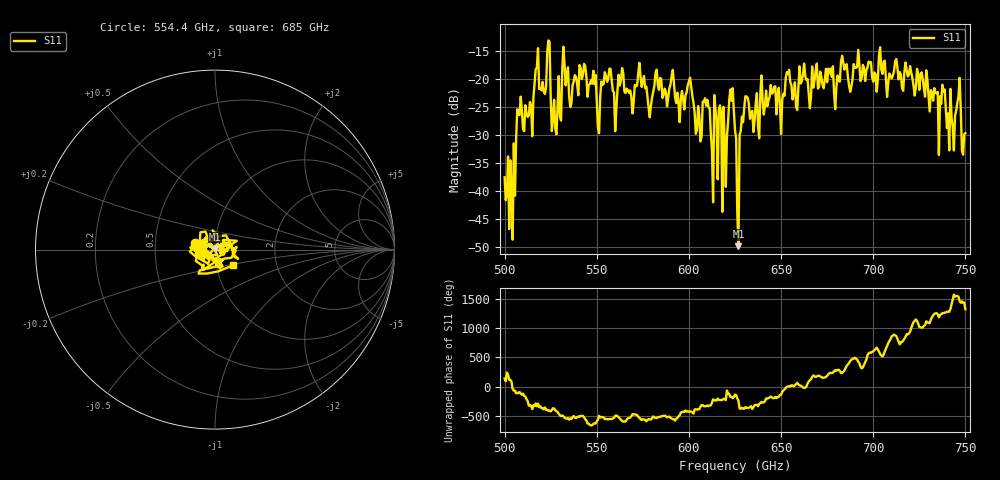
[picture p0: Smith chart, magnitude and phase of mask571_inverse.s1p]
!Created with skrf (http://scikit-rf.org).
# GHz S MA R 50.0
!freq magS11 angS11
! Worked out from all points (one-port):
!   401 points, 500 GHz to 750 GHz, reference 50 ohm
!   lowest |S11| = -49.8 dB at 626.9 GHz (marker M1), VSWR 1.01, Z = 49.9 + j0.288 ohm
!   |S11| at or under -10 dB: start of sweep to end of sweep
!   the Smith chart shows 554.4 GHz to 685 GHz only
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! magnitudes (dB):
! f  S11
! 500 GHz  -37.5
! 503.8 GHz  -39.9
! 507.5 GHz  -26.3
! 513.8 GHz  -24.1
! 516.9 GHz  -18.2
! 523.8 GHz  -13.1
! 526.9 GHz  -23.7
! 531.2 GHz  -18.6
! 542.5 GHz  -19.2
! 551.2 GHz  -29.6
! 562.5 GHz  -21.1
! 593.8 GHz  -22.4
! 600.6 GHz  -19.7
! 605.6 GHz  -26.5
! 610 GHz  -23.7
! 611.9 GHz  -29.6
! 615 GHz  -27.4
! 619.4 GHz  -30.8
! 623.1 GHz  -23.8
! 625 GHz  -29.0
! 626.9 GHz  -49.8
! 631.2 GHz  -23.1
! 656.2 GHz  -23.6
! 687.5 GHz  -22.2
! 718.8 GHz  -19.5
! 742.5 GHz  -26.9
! 746.2 GHz  -23.1
! 750 GHz  -29.6
